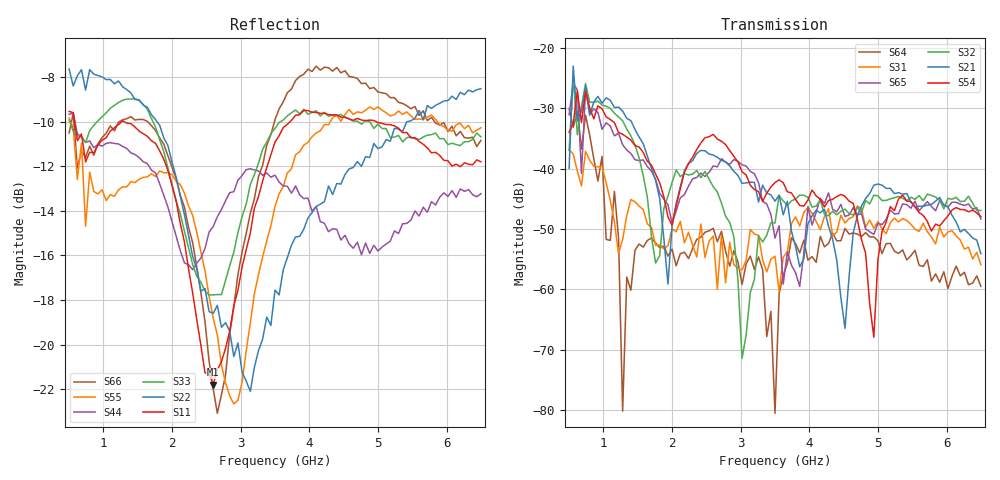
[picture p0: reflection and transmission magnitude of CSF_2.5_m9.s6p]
!Keysight Technologies,M9804A,MY58100912,A.14.10.03
!Date: Thursday, April 27, 2023 10:28:33
!Correction: S11(C  6-Port  )
!S12(C  6-Port  )
!S13(C  6-Port  )
!S14(C  6-Port  )
!S15(C  6-Port  )
!S16(C  6-Port  )
!S21(C  6-Port  )
!S22(C  6-Port  )
!S23(C  6-Port  )
!S24(C  6-Port  )
!S25(C  6-Port  )
!S26(C  6-Port  )
!S31(C  6-Port  )
!S32(C  6-Port  )
!S33(C  6-Port  )
!S34(C  6-Port  )
!S35(C  6-Port  )
!S36(C  6-Port  )
!S41(C  6-Port  )
!S42(C  6-Port  )
!S43(C  6-Port  )
!S44(C  6-Port  )
!S45(C  6-Port  )
!S46(C  6-Port  )
!S51(C  6-Port  )
!S52(C  6-Port  )
!S53(C  6-Port  )
!S54(C  6-Port  )
!S55(C  6-Port  )
!S56(C  6-Port  )
!S61(C  6-Port  )
!S62(C  6-Port  )
!S63(C  6-Port  )
!S64(C  6-Port  )
!S65(C  6-Port  )
!S66(C  6-Port  )
!S6P File: Measurement: :
# Hz S  RI  R 50
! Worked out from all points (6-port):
!   101 points, 500 MHz to 6.5 GHz, reference 50 ohm
!   strongest paths, dB at 500 MHz, 2 GHz, 3.5 GHz, 5 GHz, 6.5 GHz:
!     S54: -33.9, -49.4, -42.3, -55.1, -47.9
!     S21: -39.9, -49.5, -45.4, -42.5, -54.1
!     S32: -36.9, -42.3, -49.0, -44.5, -46.9
!     S65: -31.0, -49.0, -51.5, -49.1, -48.3
!     S31: -36.8, -50.0, -54.5, -48.7, -55.9
!     S64: -30.0, -53.3, -80.5, -52.0, -59.5
!   lowest |S11| = -21.8 dB at 2.6 GHz (marker M1), VSWR 1.18, Z = 42.7 + j1.94 ohm
!   |S11| at or under -10 dB: 579.4 MHz to 1.267 GHz (688.1 MHz wide, 74.5 % of centre); 1.301 GHz to 3.721 GHz (2.42 GHz wide, 96.4 % of centre); 4.975 GHz to end of sweep
